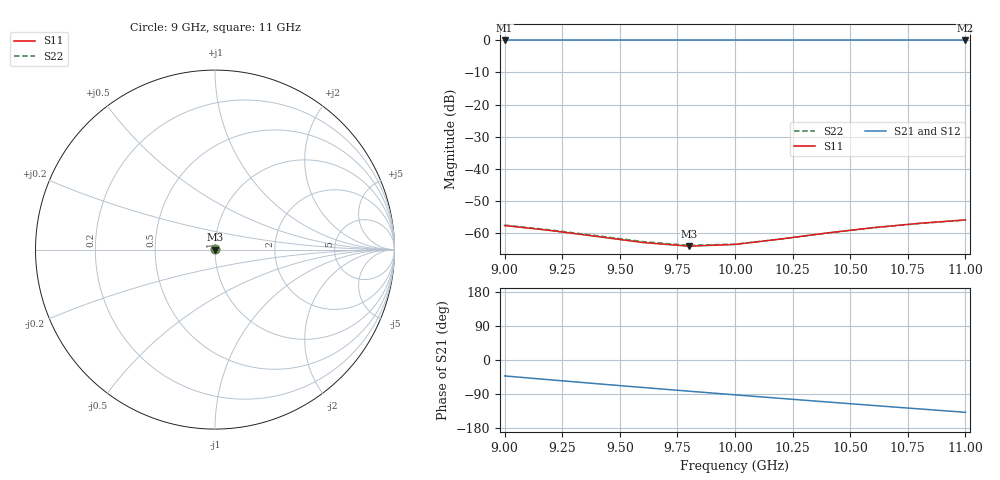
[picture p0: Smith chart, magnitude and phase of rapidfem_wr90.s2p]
! Touchstone file generated by RapidFEM
! Ports: 2
# GHZ S RI R 50
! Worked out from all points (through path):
!   11 points, 9 GHz to 11 GHz, reference 50 ohm
!   highest |S21| = 0.00 dB at 9 GHz (marker M1); lowest = 0.0 dB at 11 GHz (marker M2)
!   group delay of S21, straight-line fit = 133 ps
!   lowest |S11| = -64.2 dB at 9.8 GHz (marker M3), VSWR 1.00, Z = 50 - j0.0587 ohm
!   |S11| at or under -10 dB: start of sweep to end of sweep
!   |S22| runs from -64.0 to -56.1 dB; largest |S21 - S12| = 0
9  0.00115 0.000592  0.7427 -0.6695  0.7427 -0.6695  0.00043 0.00124
9.2  0.00106 0.000183  0.6098 -0.7925  0.6098 -0.7925  0.00042 0.00102
9.4  0.000854 -0.00017  0.4605 -0.8876  0.4605 -0.8876  0.000336 0.00083
9.6  0.00055 -0.000434  0.3001 -0.9539  0.3001 -0.9539  0.000194 0.000698
9.8  0.000182 -0.000587  0.1338 -0.991  0.1338 -0.991  1.7e-05 0.000632
10  -0.000214 -0.000617  -0.0336 -0.9994  -0.0336 -0.9994  -0.000172 0.000638
10.2  -0.000598 -0.000525  -0.1976 -0.9802  -0.1976 -0.9802  -0.000349 0.000713
10.4  -0.000935 -0.000321  -0.3541 -0.9352  -0.3541 -0.9352  -0.000493 0.000849
10.6  -0.0012 -2.62e-05  -0.4994 -0.8663  -0.4994 -0.8663  -0.000589 0.00103
10.8  -0.00136 0.000333  -0.6303 -0.7763  -0.6303 -0.7763  -0.000625 0.00124
11  -0.00141 0.000722  -0.7441 -0.668  -0.7441 -0.668  -0.000597 0.00145
